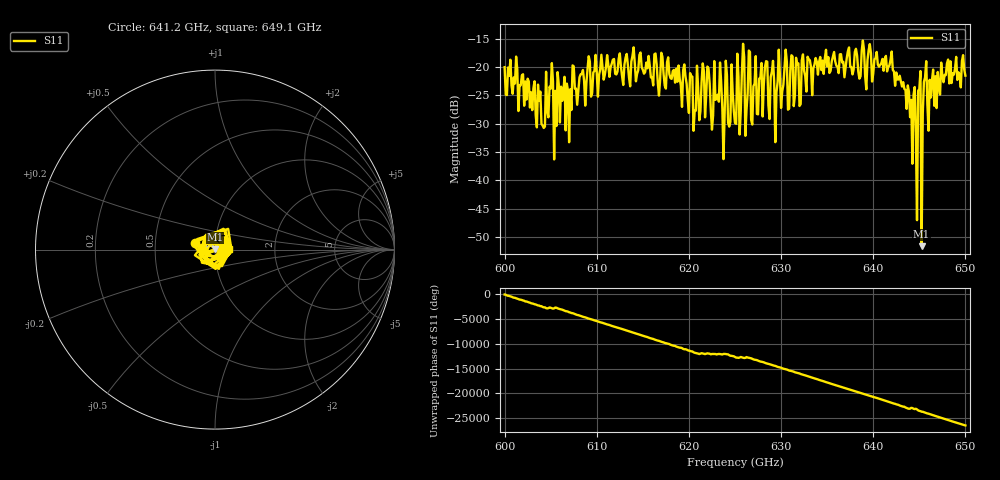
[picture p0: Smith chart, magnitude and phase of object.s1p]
!Created with skrf (http://scikit-rf.org).
# GHz S MA R 50.0
!freq magS11 angS11
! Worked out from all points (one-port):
!   401 points, 600 GHz to 650 GHz, reference 50 ohm
!   lowest |S11| = -51.6 dB at 645.2 GHz (marker M1), VSWR 1.01, Z = 50 + j0.262 ohm
!   |S11| at or under -10 dB: start of sweep to end of sweep
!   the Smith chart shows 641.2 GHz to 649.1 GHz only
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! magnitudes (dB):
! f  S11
! 600 GHz  -20.0
! 604.1 GHz  -30.3
! 605 GHz  -23.8
! 605.5 GHz  -24.2
! 606.2 GHz  -26.0
! 606.9 GHz  -24.1
! 608.4 GHz  -21.2
! 612.5 GHz  -17.6
! 618.8 GHz  -22.6
! 620.5 GHz  -31.3
! 621.8 GHz  -28.9
! 622.6 GHz  -28.5
! 623.2 GHz  -26.1
! 623.6 GHz  -27.2
! 625 GHz  -29.9
! 625.8 GHz  -20.9
! 631.2 GHz  -18.2
! 637.5 GHz  -19.9
! 641.9 GHz  -18.8
! 643.8 GHz  -23.2
! 644.4 GHz  -24.9
! 644.5 GHz  -23.5
! 644.9 GHz  -24.2
! 645 GHz  -23.9
! 645.2 GHz  -51.6
! 645.5 GHz  -22.6
! 645.6 GHz  -21.8
! 650 GHz  -21.5
